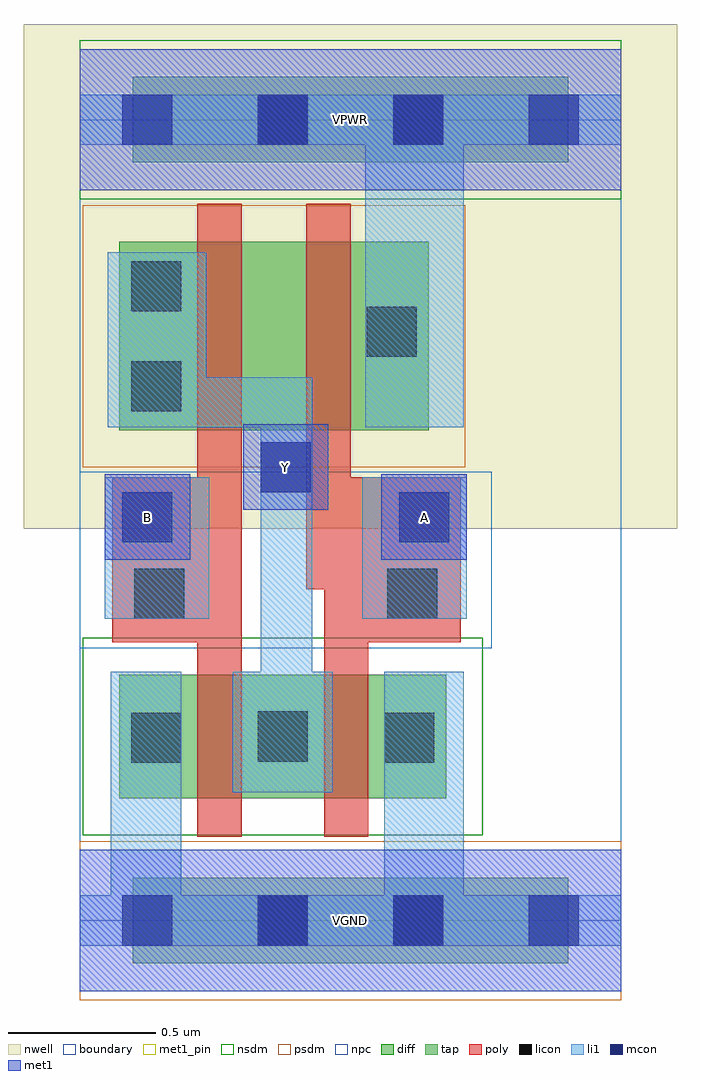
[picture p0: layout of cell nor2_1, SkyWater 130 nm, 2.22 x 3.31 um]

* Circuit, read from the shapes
.subckt nor2_1 A B VGND VPWR Y
XM1 Y B VGND VGND sky130_fd_pr__nfet_01v8 w=0.42 l=0.15
XM2 VGND A Y VGND sky130_fd_pr__nfet_01v8 w=0.42 l=0.15
XM3 n1 B Y VPWR sky130_fd_pr__pfet_01v8 w=0.64 l=0.15
XM4 VPWR A n1 VPWR sky130_fd_pr__pfet_01v8 w=0.64 l=0.15
.ends

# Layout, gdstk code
import gdstk
lib = gdstk.Library(unit=1e-6, precision=1e-09)
def R(c, l, rs):  # rectangles x0, y0, x1, y1
    for r in rs: c.add(gdstk.rectangle(r[:2], r[2:], *l))
def A(c, l, x, y, w, h, nx, ny, dx, dy):  # array of equal rectangles
    R(c, l, [(x+i*dx, y+j*dy, x+i*dx+w, y+j*dy+h) for i in range(nx) for j in range(ny)])
nwell = (64, 20)
diff = (65, 20)
tap = (65, 44)
poly = (66, 20)
licon = (66, 44)
li1 = (67, 20)
mcon = (67, 44)
met1_pin = (68, 16)
met1 = (68, 20)
nsdm = (93, 44)
psdm = (94, 20)
npc = (95, 20)
boundary = (235, 4)

nor2_1 = lib.new_cell('nor2_1')
R(nor2_1, nwell, [(-0.19,1.33,2.03,3.045), (0,1.33,1.84,3.045)])
R(nor2_1, diff, [(0.135,0.415,1.245,0.835), (0.135,1.665,1.185,2.305)])
R(nor2_1, tap, [(0.18,-0.145,1.66,0.145), (0.18,2.575,1.66,2.865)])
R(nor2_1, poly, [(0.4,0.285,0.55,2.435), (0.83,0.285,0.98,1.505), (0.11,0.945,0.55,1.505), (0.83,0.945,1.295,1.505), (0.77,1.125,0.92,2.435)])
R(nor2_1, licon, [(0.605,-0.085,0.775,0.085), (1.065,-0.085,1.235,0.085), (0.175,0.535,0.345,0.705), (1.035,0.535,1.205,0.705), (0.605,0.54,0.775,0.71), (0.185,1.025,0.355,1.195), (1.045,1.025,1.215,1.195), (0.175,1.73,0.345,1.9), (0.975,1.915,1.145,2.085), (0.175,2.07,0.345,2.24), (0.605,2.635,0.775,2.805), (1.065,2.635,1.235,2.805)])
R(nor2_1, li1, [(0,-0.085,1.84,0.085), (0.105,-0.085,0.345,0.845), (1.035,-0.085,1.305,0.845), (0.52,0.435,0.86,0.845), (0.615,0.435,0.79,1.845), (0.085,1.025,0.44,1.505), (0.96,1.025,1.315,1.505), (0.095,1.675,0.43,2.27), (0.095,1.675,0.79,1.845), (0.97,1.675,1.305,2.805), (0,2.635,1.84,2.805)])
A(nor2_1, mcon, 0.145, -0.085, 0.17, 0.17, 4, 2, 0.46, 2.72)
R(nor2_1, mcon, [(0.145,1.285,0.315,1.455), (1.085,1.285,1.255,1.455), (0.615,1.455,0.785,1.625)])
R(nor2_1, met1_pin, [(0,-0.24,1.84,0.24), (0.085,1.225,0.375,1.515), (1.025,1.225,1.315,1.515), (0.555,1.395,0.845,1.685), (0,2.48,1.84,2.96)])
R(nor2_1, met1, [(0,-0.24,1.84,0.24), (0.085,1.225,0.375,1.515), (1.025,1.225,1.315,1.515), (0.555,1.395,0.845,1.685), (0,2.48,1.84,2.96)])
R(nor2_1, nsdm, [(0.01,0.29,1.37,0.96), (0,2.45,1.84,2.99)])
R(nor2_1, psdm, [(0,-0.27,1.84,0.27), (0.01,1.54,1.31,2.43)])
R(nor2_1, npc, [(0,0.925,1.4,1.525)])
R(nor2_1, boundary, [(0,0,1.84,2.72)])
nor2_1.add(gdstk.Label('A', (1.17,1.37), layer=68, texttype=5))
nor2_1.add(gdstk.Label('B', (0.23,1.37), layer=68, texttype=5))
nor2_1.add(gdstk.Label('Y', (0.7,1.54), layer=68, texttype=5))
nor2_1.add(gdstk.Label('VPWR', (0.92,2.72), layer=68, texttype=5))
nor2_1.add(gdstk.Label('VGND', (0.92,0), layer=68, texttype=5))
nor2_1.add(gdstk.Label('A', (1.17,1.37), layer=68, texttype=16))
nor2_1.add(gdstk.Label('B', (0.23,1.37), layer=68, texttype=16))
nor2_1.add(gdstk.Label('Y', (0.7,1.54), layer=68, texttype=16))
nor2_1.add(gdstk.Label('VPWR', (0.92,2.72), layer=68, texttype=16))
nor2_1.add(gdstk.Label('VGND', (0.92,0), layer=68, texttype=16))

lib.write_gds('nor2_1.gds')
